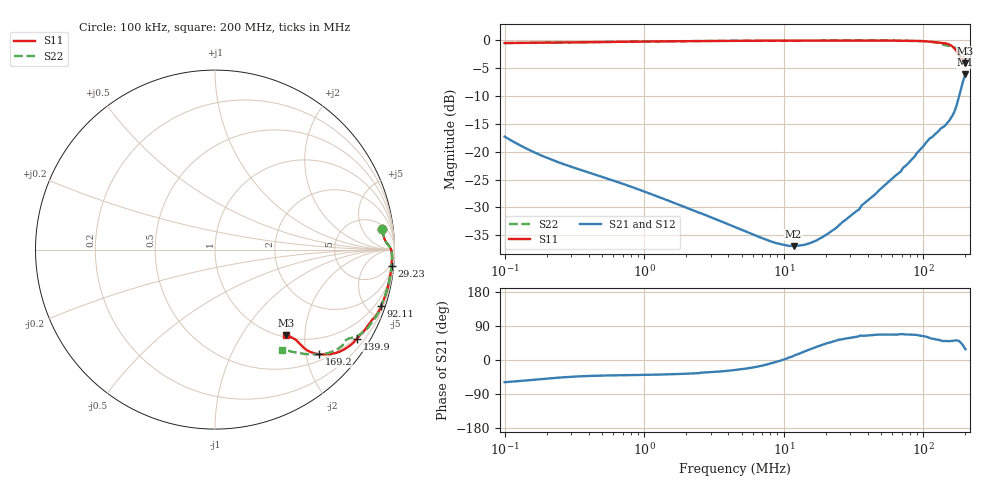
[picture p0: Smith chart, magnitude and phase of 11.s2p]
#  HZ  S  RI  R  50.00
! Rohde & Schwarz Vector Network Analyzer
! Rohde-Schwarz,ZNLE6-2Port,1323001256200024,1.71.1.10-23.02.1.238
! Created: UTC 4/7/2025, 8:45:27 AM
! freq[Hz]  re:S11  im:S11  re:S21  im:S21  re:S12  im:S12  re:S22  im:S22
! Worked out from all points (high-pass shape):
!   1001 points, 100 kHz to 200 MHz, reference 50 ohm
!   highest |S21| = -6.17 dB at 200 MHz (marker M1); lowest = -36.9 dB at 11.74 MHz (marker M2)
!   |S21| within 3 dB of the highest: 183.8 MHz to end of sweep
!   lowest |S11| = -4.2 dB at 200 MHz (marker M3), VSWR 4.24, Z = 52.3 - j80.5 ohm
!   |S11| at or under -10 dB: nowhere
!   |S22| runs from -3.5 to -0.1 dB; largest |S21 - S12| = 0.013
!   S11 on the Smith chart (normalised r, x): 100 kHz: 7, +13; 29.23 MHz: 3, -21; 92.11 MHz: 0.41, -6.02; 139.9 MHz: 0.44, -3.43; 169.2 MHz: 0.63, -2.25; 200 MHz: 1.05, -1.61
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100000  0.9299 0.1154  0.0708 -0.1162  0.071 -0.1165  0.9297 0.1156
180917.4  0.9412 0.0708  0.0592 -0.0716  0.0594 -0.0718  0.9412 0.071
355854.1  0.9504 0.0453  0.05 -0.0464  0.0501 -0.0465  0.9504 0.0454
1266322  0.9694 0.0212  0.0307 -0.0245  0.0308 -0.0246  0.9693 0.021
4472136  0.9811 -0.00149  0.0189 -0.00938  0.0188 -0.00963  0.982 -0.000883
8277485  0.9845 -0.0182  0.0154 -0.00217  0.0153 -0.00248  0.985 -0.0194
1.17421e7  0.9858 -0.0314  0.014 0.00273  0.0141 0.00227  0.9859 -0.0329
1.591428e7  0.986 -0.0465  0.0133 0.00771  0.0134 0.00753  0.9863 -0.049
2.12435e7  0.9854 -0.0654  0.0131 0.0135  0.0132 0.0134  0.9853 -0.0691
2.923273e7  0.9834 -0.0931  0.0138 0.0219  0.0138 0.0218  0.9831 -0.0977
3.40322e7  0.9813 -0.1101  0.0141 0.0264  0.0143 0.0261  0.9811 -0.1148
5.663162e7  0.9683 -0.1878  0.0207 0.0497  0.0221 0.0488  0.9663 -0.1948
6.745012e7  0.9584 -0.2268  0.0246 0.0601  0.0277 0.0591  0.9546 -0.2356
9.211385e7  0.9264 -0.3149  0.0423 0.091  0.0455 0.09  0.9193 -0.3305
1.174784e8  0.864 -0.4085  0.0767 0.1139  0.0796 0.1126  0.8562 -0.4309
1.399206e8  0.7921 -0.4956  0.1073 0.1278  0.107 0.1258  0.76 -0.4922
1.486928e8  0.7489 -0.5368  0.1171 0.1384  0.1186 0.1357  0.7315 -0.5028
1.580149e8  0.6804 -0.5736  0.129 0.1544  0.1322 0.1495  0.7043 -0.5386
1.692027e8  0.5788 -0.5825  0.1486 0.1867  0.154 0.1791  0.622 -0.5783
1.811826e8  0.483 -0.5354  0.2113 0.2453  0.2192 0.2364  0.5238 -0.583
1.925417e8  0.4356 -0.4936  0.3363 0.2642  0.3434 0.2538  0.4337 -0.5704
2e8  0.3963 -0.475  0.4321 0.2343  0.4406 0.2249  0.371 -0.5567
